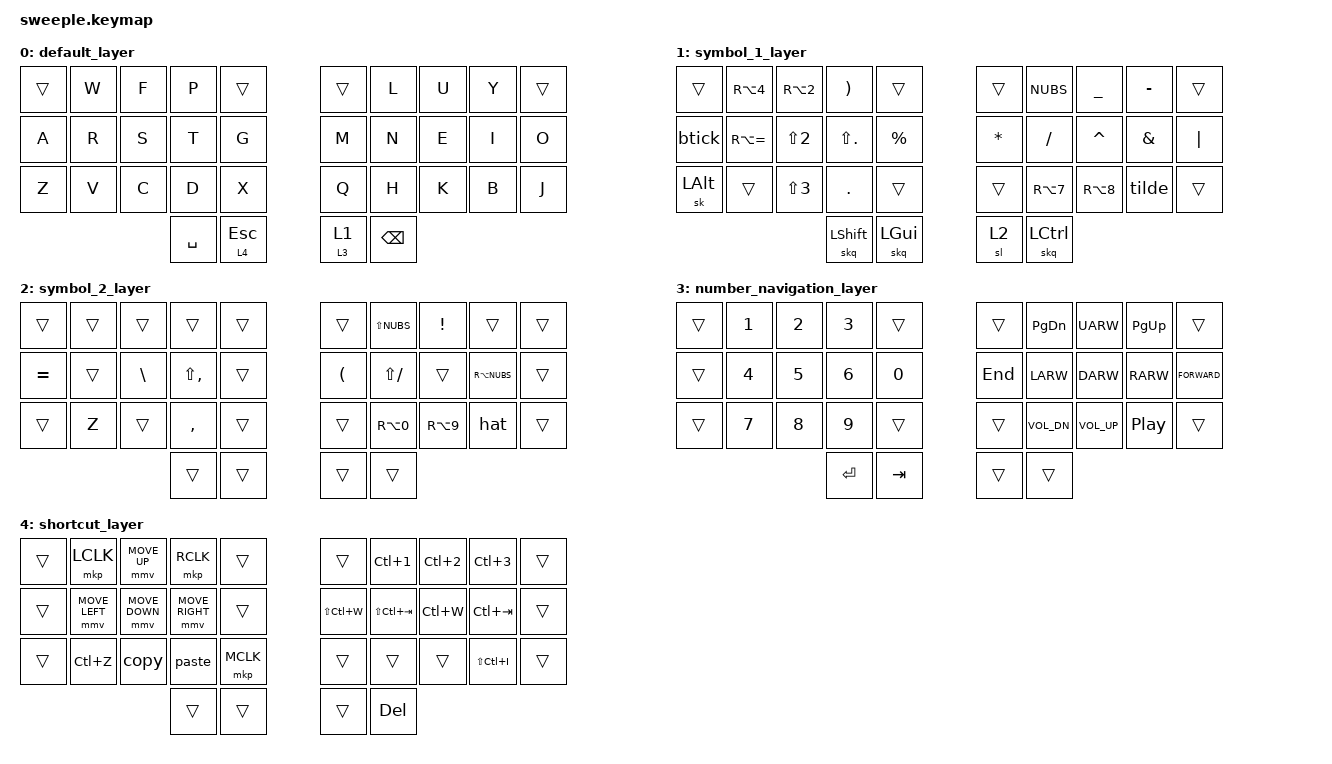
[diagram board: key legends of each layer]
#include <behaviors.dtsi>
#include <behaviors/mouse_keys.dtsi>
#include <dt-bindings/zmk/keys.h>
#include <dt-bindings/zmk/bt.h>
#include <dt-bindings/zmk/pointing.h>

/ {
    input_configs {
        compatible = "zmk,input-configs";
        mmv {
            device = <&mmv>;
            scale-multiplier = <10>;
        };
    };

    behaviors {
        htt: hold_tap_tap_preferred {
            compatible = "zmk,behavior-hold-tap";
            #binding-cells = <2>;
            tapping-term-ms = <150>;
            quick-tap-ms = <0>;
            flavor = "tap-preferred";
            bindings = <&kp>, <&kp>;
        };

        htl: hold_tap_leader {
            label = "leader_hold_tap";
            compatible = "zmk,behavior-hold-tap";
            #binding-cells = <2>; 
            flavor = "tap-preferred"; 
            tapping-term-ms = <200>; 
            bindings = <&mo>, <&sl>; 
        };

        skq: sticky_key_quick_release {
            compatible = "zmk,behavior-sticky-key";
            label = "STICKY_KEY_QUICK_RELEASE";
            #binding-cells = <1>;
            bindings = <&kp>;
            release-after-ms = <1000>;
            quick-release;
            ignore-modifiers;
        };
    };

    macros {
        tilde: tilde {
            label = "macro_tilde";
            compatible = "zmk,behavior-macro";
            #binding-cells = <0>;
            bindings = <&kp RA(RBKT) &kp RA(RBKT)>;
        };
        btick: btick {
            label = "macro_btick";
            compatible = "zmk,behavior-macro";
            #binding-cells = <0>;
            bindings = <&kp PLUS &kp PLUS>;
        };
        hat: hat {
            label = "macro_hat";
            compatible = "zmk,behavior-macro";
            #binding-cells = <0>;
            bindings = <&kp RBRC &kp RBRC>;
        };
        copy: copy {
            label = "macro_copy";
            compatible = "zmk,behavior-macro";
            #binding-cells = <0>;
            bindings = <&kp LC(C)>;
        };
        paste: paste {
            label = "macro_paste";
            compatible = "zmk,behavior-macro";
            #binding-cells = <0>;
            bindings = <&kp LC(V)>;
        };
    };

    combos {
        compatible = "zmk,combos";
        combo_aa {
            timeout-ms = <30>;
            key-positions = <17 18>; 
            layers = <0>;
            bindings = <&kp LBKT>;
        };
        combo_ae {
            timeout-ms = <30>;
            key-positions = <7 8>; 
            layers = <0>;
            bindings = <&kp SEMI>; 
        };
        combo_ao {
            timeout-ms = <30>;
            key-positions = <27 28>; 
            layers = <0>;
            bindings = <&kp SQT>; 
        };
    };

    keymap {
        compatible = "zmk,keymap";
        default_layer {
            bindings = <
        //╭──────────┬──────────┬──────────┬──────────┬──────────╮   ╭──────────┬──────────┬──────────┬──────────┬──────────╮
            &trans     &kp W      &kp F      &kp P      &trans         &trans     &kp L      &kp U      &kp Y      &trans
        //├──────────┼──────────┼──────────┼──────────┼──────────┤   ├──────────┼──────────┼──────────┼──────────┼──────────┤
            &kp A      &kp R      &kp S      &kp T      &kp G          &kp M      &kp N      &kp E      &kp I      &kp O
        //├──────────┼──────────┼──────────┼──────────┼──────────┤   ├──────────┼──────────┼──────────┼──────────┼──────────┤
            &kp Z      &kp V      &kp C      &kp D      &kp X          &kp Q      &kp H      &kp K      &kp B      &kp J
        //╰──────────┴──────────┴──────────┼──────────┼──────────┤   ├──────────┼──────────┼──────────┴──────────┴──────────╯
                                            &kp SPACE   &lt 4 ESC      &htl 3 1   &kp BSPC
        //                                 ╰──────────┴──────────╯   ╰──────────┴──────────╯
            >;
        };

        symbol_1_layer {
            bindings = <
        //╭──────────┬──────────┬──────────┬──────────┬──────────╮   ╭──────────┬──────────┬──────────┬──────────┬──────────╮
        //│          │  $       │  @       │  =       │          │   │          │  <       │  ?       │  +       │          │
            &trans     &kp RA(N4) &kp RA(N2) &kp RPAR   &trans         &trans     &kp NUBS   &kp UNDER  &kp MINUS  &trans
        //├──────────┼──────────┼──────────┼──────────┼──────────┤   ├──────────┼──────────┼──────────┼──────────┼──────────┤
        //│  `       │  |       │  "       │  :       │  %       │   │  (       │  -       │  &       │  /       │  *       │
            &btick &kp RA(EQUAL)  &kp LS(N2) &kp LS(DOT) &kp PRCNT     &kp ASTRK  &kp FSLH   &kp CARET  &kp AMPS   &kp PIPE
        //├──────────┼──────────┼──────────┼──────────┼──────────┤   ├──────────┼──────────┼──────────┼──────────┼──────────┤
        //│          │          │  #       │  .       │          │   │          │  {       │  [       │  ~       │          │
            &sk LALT   &trans     &kp LS(N3) &kp DOT    &trans         &trans     &kp RA(N7) &kp RA(N8) &tilde     &trans
        //╰──────────┴──────────┴──────────┼──────────┼──────────┤   ├──────────┼──────────┼──────────┴──────────┴──────────╯
                                            &skq LSHIFT &skq LGUI      &sl 2      &skq LCTRL
        //                                 ╰──────────┴──────────╯   ╰──────────┴──────────╯
            >; 
        };

        symbol_2_layer {
            bindings = <
        //╭──────────┬──────────┬──────────┬──────────┬──────────╮   ╭──────────┬──────────┬──────────┬──────────┬──────────╮
        //│          │          │          │          │          │   │          │  >       │  !       │          │          │
            &trans     &trans     &trans     &trans     &trans         &trans   &kp LS(NUBS) &kp EXCL   &trans     &trans
        //├──────────┼──────────┼──────────┼──────────┼──────────┤   ├──────────┼──────────┼──────────┼──────────┼──────────┤
        //│  ´       │          │  '       │  ;       │          │   │  )       │  _       │          │ \        │          │
            &kp EQUAL  &trans     &kp BSLH   &kp LS(COMMA) &trans      &kp LPAR &kp LS(FSLH) &trans    &kp RA(NUBS) &trans
        //├──────────┼──────────┼──────────┼──────────┼──────────┤   ├──────────┼──────────┼──────────┼──────────┼──────────┤
        //│          │          │          │  ,       │          │   │          │  }       │  ]       │  ^       │          │
            &trans     &kp Z      &trans     &kp COMMA  &trans         &trans     &kp RA(N0) &kp RA(N9) &hat       &trans
        //╰──────────┴──────────┴──────────┼──────────┼──────────┤   ├──────────┼──────────┼──────────┴──────────┴──────────╯
                                             &trans     &trans         &trans     &trans
        //                                 ╰──────────┴──────────╯   ╰──────────┴──────────╯
            >;
        };

        number_navigation_layer {
            bindings = <
        //╭──────────┬──────────┬──────────┬──────────┬──────────╮   ╭──────────┬──────────┬──────────┬──────────┬──────────╮
        //│          │  1       │  2       │  3       │          │   │          │ PAGE DN  │ UP       │ PAGE UP  │          │ 
            &trans     &kp N1     &kp N2     &kp N3     &trans         &trans     &kp PG_DN  &kp UARW   &kp PG_UP  &trans
        //├──────────┼──────────┼──────────┼──────────┼──────────┤   ├──────────┼──────────┼──────────┼──────────┼──────────┤
        //│          │  4       │  5       │  6       │  0       │   │ END      │ LEFT     │ DOWN     │ RIGHT    │          │
            &trans     &kp N4     &kp N5     &kp N6     &kp N0         &kp END    &kp LARW   &kp DARW   &kp RARW   &kp K_FORWARD
        //├──────────┼──────────┼──────────┼──────────┼──────────┤   ├──────────┼──────────┼──────────┼──────────┼──────────┤
        //│          │  7       │  8       │  9       │          │   │          │ VOl DOWN │ VOL UP   │PLAY PAUSE│          │
            &trans     &kp N7     &kp N8     &kp N9     &trans         &trans  &kp C_VOL_DN &kp C_VOL_UP &kp C_PP  &trans
        //╰──────────┴──────────┴──────────┼──────────┼──────────┤   ├──────────┼──────────┼──────────┴──────────┴──────────╯
                                             &kp ENTER  &kp TAB        &trans     &trans
        //                                 ╰──────────┴──────────╯   ╰──────────┴──────────╯
            >;
        };

        shortcut_layer {
            bindings = <
        //╭──────────┬──────────┬──────────┬──────────┬──────────╮   ╭──────────┬──────────┬──────────┬──────────┬──────────╮
        //│          │          │          │          │          │   │          │          │          │          │          │
            &trans   &mkp LCLK &mmv MOVE_UP  &mkp RCLK  &trans         &trans     &kp LC(N1) &kp LC(N2) &kp LC(N3) &trans
        //├──────────┼──────────┼──────────┼──────────┼──────────┤   ├──────────┼──────────┼──────────┼──────────┼──────────┤
        //│          │          │          │          │          │   │          │          │          │          │          │
         &trans  &mmv MOVE_LEFT &mmv MOVE_DOWN &mmv MOVE_RIGHT &trans  &kp LS(LC(W)) &kp LS(LC(TAB)) &kp LC(W) &kp LC(TAB) &trans
        //├──────────┼──────────┼──────────┼──────────┼──────────┤   ├──────────┼──────────┼──────────┼──────────┼──────────┤
        //│          │          │          │          │          │   │          │          │          │          │          │
            &trans     &kp LC(Z)  &copy      &paste     &mkp MCLK      &trans     &trans     &trans  &kp LS(LC(I)) &trans
        //╰──────────┴──────────┴──────────┼──────────┼──────────┤   ├──────────┼──────────┼──────────┴──────────┴──────────╯
                                             &trans     &trans         &trans     &kp DEL
        //                                 ╰──────────┴──────────╯   ╰──────────┴──────────╯
            >;
        };
    };
};
